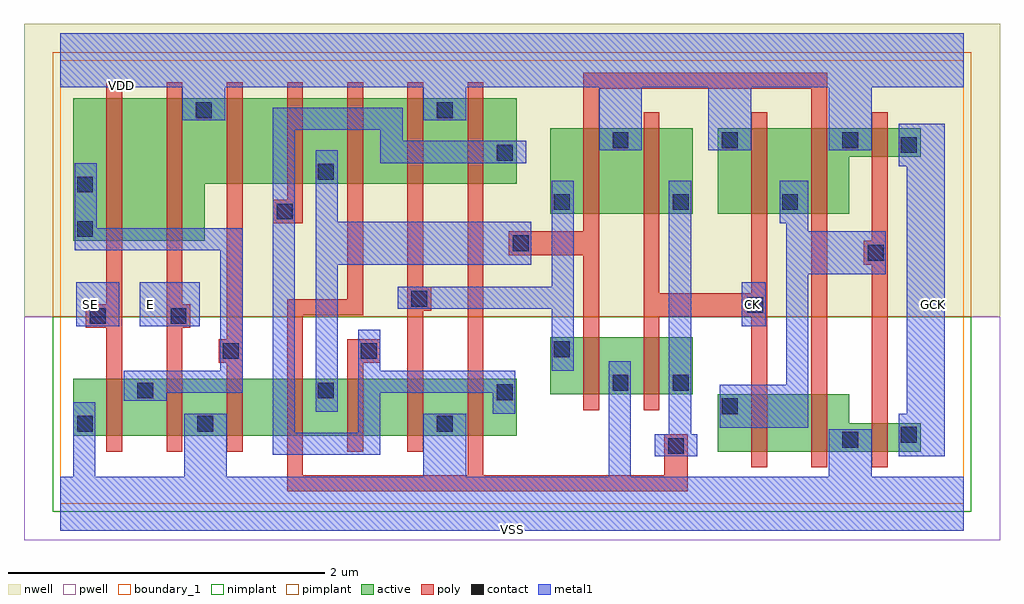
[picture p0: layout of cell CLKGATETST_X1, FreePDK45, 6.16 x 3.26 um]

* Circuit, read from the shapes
.subckt CLKGATETST_X1 CK E GCK SE VDD VSS
M1 n1 SE VSS VSUBS nfet w=0.36u l=0.1u
M2 VSS E n1 VSUBS nfet w=0.36u l=0.1u
M3 n2 n1 VSS VSUBS nfet w=0.36u l=0.1u
M4 n3 n4 n2 VSUBS nfet w=0.36u l=0.1u
M5 n5 n6 n3 VSUBS nfet w=0.36u l=0.1u
M6 VSS n7 n5 VSUBS nfet w=0.36u l=0.1u
M7 n6 n4 VSS VSUBS nfet w=0.36u l=0.1u
M8 VSS n3 n7 VSUBS nfet w=0.36u l=0.1u
M9 n4 CK VSS VSUBS nfet w=0.36u l=0.1u
M10 n8 CK n9 VSUBS nfet w=0.36u l=0.1u
M11 VSS n3 n8 VSUBS nfet w=0.36u l=0.1u
M12 GCK n9 VSS VSUBS nfet w=0.18u l=0.1u
M13 n10 SE n1 n11 pfet w=0.9u l=0.1u
M14 VDD E n10 n11 pfet w=0.9u l=0.1u
M15 n12 n1 VDD n11 pfet w=0.54u l=0.1u
M16 n3 n6 n12 n11 pfet w=0.54u l=0.1u
M17 n13 n4 n3 n11 pfet w=0.54u l=0.1u
M18 VDD n7 n13 n11 pfet w=0.54u l=0.1u
M19 n6 n4 VDD n11 pfet w=0.54u l=0.1u
M20 VDD n3 n7 n11 pfet w=0.54u l=0.1u
M21 n4 CK VDD n11 pfet w=0.54u l=0.1u
M22 n9 CK VDD n11 pfet w=0.54u l=0.1u
M23 VDD n3 n9 n11 pfet w=0.54u l=0.1u
M24 GCK n9 VDD n11 pfet w=0.18u l=0.1u
.ends

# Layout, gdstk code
import gdstk
lib = gdstk.Library(unit=1e-6, precision=1e-09)
def R(c, l, rs):  # rectangles x0, y0, x1, y1
    for r in rs: c.add(gdstk.rectangle(r[:2], r[2:], *l))
def P(c, l, *ps):  # polygons
    for p in ps: c.add(gdstk.Polygon(p, *l))
active = (1, 0)
pwell = (2, 0)
nwell = (3, 0)
nimplant = (4, 0)
pimplant = (5, 0)
poly = (9, 0)
contact = (10, 0)
metal1 = (11, 0)
boundary_1 = (235, 1)

clkgatetst_x1 = lib.new_cell('CLKGATETST_X1')
R(clkgatetst_x1, active, [(0.08,0.43,2.88,0.79), (3.09,0.69,3.99,1.05), (3.09,1.83,3.99,2.37)])
P(clkgatetst_x1, active, [(4.15,1.83),(4.98,1.83),(4.98,2.19),(5.43,2.19),(5.43,2.37),(4.15,2.37)],
  [(4.15,0.33),(5.43,0.33),(5.43,0.51),(4.98,0.51),(4.98,0.69),(4.15,0.69)],
  [(0.08,1.66),(0.91,1.66),(0.91,2.02),(2.88,2.02),(2.88,2.56),(0.08,2.56)])
R(clkgatetst_x1, pwell, [(-0.23,-0.23,5.93,1.18)])
R(clkgatetst_x1, nwell, [(-0.23,1.18,5.93,3.03)])
R(clkgatetst_x1, nimplant, [(-0.05,-0.05,5.75,1.18)])
R(clkgatetst_x1, pimplant, [(-0.05,1.18,5.75,2.85)])
P(clkgatetst_x1, poly, [(5.07,1.51),(5.12,1.51),(5.12,0.23),(5.22,0.23),(5.22,2.47),(5.12,2.47),(5.12,1.66),(5.07,1.66)],
  [(2.83,1.57),(3.3,1.57),(3.3,0.59),(3.4,0.59),(3.4,2.62),(4.74,2.62),(4.74,0.23),(4.84,0.23),(4.84,2.72),(3.3,2.72),(3.3,1.72),(2.83,1.72)],
  [(3.68,0.59),(3.78,0.59),(3.78,1.18),(4.36,1.18),(4.36,0.23),(4.46,0.23),(4.46,2.47),(4.36,2.47),(4.36,1.33),(3.78,1.33),(3.78,2.47),(3.68,2.47)],
  [(1.43,0.08),(3.96,0.08),(3.96,0.44),(3.81,0.44),(3.81,0.18),(2.67,0.18),(2.67,2.66),(2.57,2.66),(2.57,0.18),(1.53,0.18),(1.53,1.19),(1.91,1.19),(1.91,2.66),(1.81,2.66),(1.81,1.29),(1.43,1.29)],
  [(2.19,0.33),(2.29,0.33),(2.29,1.22),(2.34,1.22),(2.34,1.37),(2.29,1.37),(2.29,2.66),(2.19,2.66)],
  [(1.81,0.33),(1.91,0.33),(1.91,0.89),(2.02,0.89),(2.02,1.04),(1.81,1.04)],
  [(1.34,1.77),(1.53,1.77),(1.53,2.66),(1.43,2.66),(1.43,1.92),(1.34,1.92)],
  [(1,0.89),(1.05,0.89),(1.05,0.33),(1.15,0.33),(1.15,2.66),(1.05,2.66),(1.05,1.04),(1,1.04)],
  [(0.67,0.33),(0.77,0.33),(0.77,1.11),(0.82,1.11),(0.82,1.26),(0.77,1.26),(0.77,2.66),(0.67,2.66)],
  [(0.16,1.11),(0.29,1.11),(0.29,0.33),(0.39,0.33),(0.39,2.66),(0.29,2.66),(0.29,1.26),(0.16,1.26)])
R(clkgatetst_x1, contact, [(3.835,0.315,3.935,0.415), (4.935,0.355,5.035,0.455), (5.305,0.385,5.405,0.485), (0.105,0.455,0.205,0.555), (0.865,0.455,0.965,0.555), (2.375,0.455,2.475,0.555), (4.175,0.565,4.275,0.665), (2.755,0.655,2.855,0.755), (0.485,0.665,0.585,0.765), (1.625,0.665,1.725,0.765), (3.485,0.715,3.585,0.815), (3.865,0.715,3.965,0.815), (1.025,0.915,1.125,1.015), (1.895,0.915,1.995,1.015), (3.115,0.925,3.215,1.025), (0.185,1.135,0.285,1.235), (0.695,1.135,0.795,1.235), (4.335,1.205,4.435,1.305), (2.215,1.245,2.315,1.345), (5.095,1.535,5.195,1.635), (2.855,1.595,2.955,1.695), (0.105,1.685,0.205,1.785), (1.365,1.795,1.465,1.895), (3.115,1.855,3.215,1.955), (3.865,1.855,3.965,1.955), (4.555,1.855,4.655,1.955), (0.105,1.965,0.205,2.065), (1.625,2.045,1.725,2.145), (2.755,2.165,2.855,2.265), (5.305,2.215,5.405,2.315), (3.485,2.245,3.585,2.345), (4.175,2.245,4.275,2.345), (4.935,2.245,5.035,2.345), (0.855,2.435,0.955,2.535), (2.375,2.435,2.475,2.535)])
R(clkgatetst_x1, metal1, [(0.1,1.12,0.37,1.4), (0.1,1.12,0.37,1.4), (0.5,1.12,0.88,1.4), (0.5,1.12,0.88,1.4), (4.3,1.12,4.45,1.4), (4.3,1.12,4.45,1.4)])
P(clkgatetst_x1, metal1, [(5.29,2.13),(5.34,2.13),(5.34,0.57),(5.29,0.57),(5.29,0.3),(5.58,0.3),(5.58,2.4),(5.29,2.4)],
  [(0,-0.17),(5.7,-0.17),(5.7,0.17),(5.12,0.17),(5.12,0.47),(4.85,0.47),(4.85,0.17),(3.6,0.17),(3.6,0.9),(3.46,0.9),(3.46,0.17),(2.56,0.17),(2.56,0.57),(2.29,0.57),(2.29,0.17),(1.05,0.17),(1.05,0.57),(0.78,0.57),(0.78,0.17),(0.22,0.17),(0.22,0.64),(0.08,0.64),(0.08,0.17),(0,0.17)],
  [(0,2.63),(0.77,2.63),(0.77,2.42),(1.04,2.42),(1.04,2.63),(2.29,2.63),(2.29,2.42),(2.56,2.42),(2.56,2.63),(3.4,2.63),(3.4,2.23),(3.67,2.23),(3.67,2.63),(4.09,2.63),(4.09,2.23),(4.36,2.23),(4.36,2.63),(4.85,2.63),(4.85,2.23),(5.12,2.23),(5.12,2.63),(5.7,2.63),(5.7,2.97),(0,2.97)],
  [(0,2.63),(0.77,2.63),(0.77,2.42),(1.04,2.42),(1.04,2.63),(2.29,2.63),(2.29,2.42),(2.56,2.42),(2.56,2.63),(3.4,2.63),(3.4,2.23),(3.67,2.23),(3.67,2.63),(4.09,2.63),(4.09,2.23),(4.36,2.23),(4.36,2.63),(4.85,2.63),(4.85,2.23),(5.12,2.23),(5.12,2.63),(5.7,2.63),(5.7,2.97),(0,2.97)],
  [(0,-0.17),(5.7,-0.17),(5.7,0.17),(5.12,0.17),(5.12,0.47),(4.85,0.47),(4.85,0.17),(3.6,0.17),(3.6,0.9),(3.46,0.9),(3.46,0.17),(2.56,0.17),(2.56,0.57),(2.29,0.57),(2.29,0.17),(1.05,0.17),(1.05,0.57),(0.78,0.57),(0.78,0.17),(0.22,0.17),(0.22,0.64),(0.08,0.64),(0.08,0.17),(0,0.17)],
  [(5.29,2.13),(5.34,2.13),(5.34,0.57),(5.29,0.57),(5.29,0.3),(5.58,0.3),(5.58,2.4),(5.29,2.4)],
  [(4.54,1.77),(4.58,1.77),(4.58,0.75),(4.16,0.75),(4.16,0.48),(4.72,0.48),(4.72,1.45),(5.21,1.45),(5.21,1.72),(4.72,1.72),(4.72,2.04),(4.54,2.04)],
  [(3.75,0.3),(4.02,0.3),(4.02,0.44),(3.98,0.44),(3.98,2.04),(3.84,2.04),(3.84,0.44),(3.75,0.44)],
  [(2.13,1.23),(3.1,1.23),(3.1,0.84),(3.24,0.84),(3.24,2.04),(3.1,2.04),(3.1,1.37),(2.13,1.37)],
  [(1.61,0.58),(1.75,0.58),(1.75,1.51),(2.97,1.51),(2.97,1.78),(1.75,1.78),(1.75,2.23),(1.61,2.23)],
  [(1.48,2.36),(2.02,2.36),(2.02,2.15),(2.94,2.15),(2.94,2.29),(2.16,2.29),(2.16,2.5),(1.34,2.5),(1.34,0.31),(2.02,0.31),(2.02,0.7),(2.73,0.7),(2.73,0.57),(2.87,0.57),(2.87,0.84),(2.02,0.84),(2.02,1.1),(1.88,1.1),(1.88,0.45),(1.48,0.45)],
  [(0.09,1.6),(1.01,1.6),(1.01,0.84),(0.4,0.84),(0.4,0.65),(0.67,0.65),(0.67,0.7),(1.15,0.7),(1.15,1.74),(0.23,1.74),(0.23,2.15),(0.09,2.15)])
R(clkgatetst_x1, boundary_1, [(0,0,5.7,2.8)])
clkgatetst_x1.add(gdstk.Label('VSS', (2.85,-0.16), layer=11, texttype=0))
clkgatetst_x1.add(gdstk.Label('VDD', (0.385,2.64), layer=11, texttype=0))
clkgatetst_x1.add(gdstk.Label('SE', (0.19,1.26), layer=11, texttype=0))
clkgatetst_x1.add(gdstk.Label('GCK', (5.51,1.26), layer=11, texttype=0))
clkgatetst_x1.add(gdstk.Label('E', (0.57,1.26), layer=11, texttype=0))
clkgatetst_x1.add(gdstk.Label('CK', (4.37,1.26), layer=11, texttype=0))

lib.write_gds('CLKGATETST_X1.gds')
